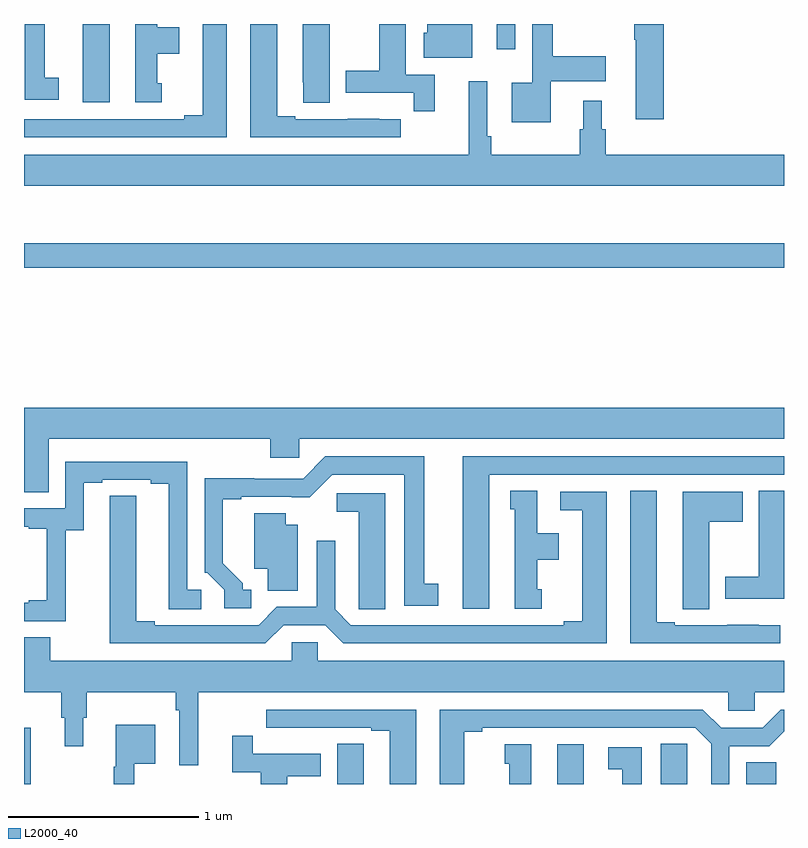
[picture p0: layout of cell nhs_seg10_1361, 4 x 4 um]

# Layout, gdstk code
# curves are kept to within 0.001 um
import gdstk
lib = gdstk.Library(unit=1e-6, precision=1e-09)
def R(c, l, rs):  # rectangles x0, y0, x1, y1
    for r in rs: c.add(gdstk.rectangle(r[:2], r[2:], *l))
def P(c, l, *ps):  # polygons
    for p in ps: c.add(gdstk.Polygon(p, *l))
L2000_40 = (2000, 40)

nhs_seg10_1361 = lib.new_cell('nhs_seg10_1361')
R(nhs_seg10_1361, L2000_40, [(181,1298.5,181.036,1298.797), (183.806,1298.5,183.946,1298.71), (184.802,1298.5,184.96,1298.615), (181,1301.218,185,1301.347), (181.31,1302.087,181.45,1302.5), (183.488,1302.366,183.585,1302.5)])
P(nhs_seg10_1361, L2000_40, [(183.161,1302.234),(183.01,1302.234),(183.01,1302.5),(182.87,1302.5),(182.87,1302.255),(182.693,1302.255),(182.693,1302.138),(183.052,1302.138),(183.052,1302.042),(183.161,1302.042)],
  [(181.183,1302.218),(181.108,1302.218),(181.108,1302.5),(181.004,1302.5),(181.004,1302.102),(181.183,1302.102)],
  [(183.358,1302.5),(183.122,1302.5),(183.122,1302.453),(183.104,1302.453),(183.104,1302.323),(183.358,1302.323)],
  [(182.068,1302.5),(181.94,1302.5),(181.94,1302.02),(181.844,1302.02),(181.844,1302),(181,1302),(181,1301.904),(182.068,1301.904)],
  [(183.772,1302.2),(184.063,1302.2),(184.063,1302.33),(183.784,1302.33),(183.784,1302.5),(183.675,1302.5),(183.675,1302.19),(183.566,1302.19),(183.566,1301.984),(183.772,1301.984)],
  [(182.608,1302.5),(182.468,1302.5),(182.468,1302.193),(182.469,1302.193),(182.469,1302.085),(182.608,1302.085)],
  [(184.367,1302.5),(184.213,1302.5),(184.213,1302.418),(184.22,1302.418),(184.22,1302),(184.367,1302)],
  [(181.726,1302.189),(181.702,1302.189),(181.702,1302.344),(181.816,1302.344),(181.816,1302.484),(181.702,1302.484),(181.702,1302.5),(181.586,1302.5),(181.586,1302.087),(181.726,1302.087)],
  [(182.983,1302),(182.87,1302),(182.87,1302.001),(182.704,1302.001),(182.704,1302),(182.428,1302),(182.428,1302.015),(182.332,1302.015),(182.332,1302.5),(182.192,1302.5),(182.192,1301.904),(182.983,1301.904)],
  [(185,1301.812),(184.061,1301.812),(184.061,1301.946),(184.042,1301.946),(184.042,1302.097),(183.944,1302.097),(183.944,1301.946),(183.925,1301.946),(183.925,1301.812),(183.458,1301.812),(183.458,1301.908),(183.438,1301.908),(183.438,1302.199),(183.341,1302.199),(183.341,1301.812),(181,1301.812),(181,1301.648),(185,1301.648)],
  [(181.129,1300.316),(182.297,1300.316),(182.297,1300.218),(182.448,1300.218),(182.448,1300.316),(185,1300.316),(185,1300.48),(181,1300.48),(181,1300.036),(181.129,1300.036)],
  [(182.197,1299.522),(182.152,1299.522),(182.152,1299.557),(182.047,1299.662),(182.047,1299.999),(182.143,1299.999),(182.143,1300.011),(182.504,1300.01),(182.622,1300.128),(183.002,1300.128),(183.002,1299.438),(183.181,1299.438),(183.181,1299.554),(183.106,1299.554),(183.106,1300.224),(182.586,1300.224),(182.469,1300.107),(182.213,1300.107),(182.213,1300.109),(181.95,1300.109),(181.95,1299.612),(181.965,1299.612),(182.055,1299.522),(182.055,1299.426),(182.197,1299.426)],
  [(183.448,1300.128),(185,1300.128),(185,1300.224),(183.308,1300.224),(183.308,1299.423),(183.448,1299.423)],
  [(181.221,1299.835),(181.315,1299.835),(181.315,1300.086),(181.411,1300.086),(181.411,1300.101),(181.667,1300.101),(181.667,1300.081),(181.763,1300.081),(181.763,1299.421),(181.933,1299.421),(181.933,1299.522),(181.86,1299.522),(181.86,1300.197),(181.218,1300.197),(181.218,1299.951),(181,1299.951),(181,1299.855),(181.025,1299.855),(181.025,1299.843),(181.121,1299.843),(181.121,1299.466),(181.025,1299.466),(181.025,1299.453),(181,1299.453),(181,1299.357),(181.221,1299.357)],
  [(183.724,1299.525),(183.7,1299.525),(183.7,1299.68),(183.814,1299.68),(183.814,1299.82),(183.7,1299.82),(183.7,1300.043),(183.56,1300.043),(183.56,1299.945),(183.584,1299.945),(183.584,1299.423),(183.724,1299.423)],
  [(184.981,1299.336),(184.868,1299.336),(184.868,1299.337),(184.702,1299.337),(184.702,1299.336),(184.426,1299.336),(184.426,1299.351),(184.33,1299.351),(184.33,1300.043),(184.19,1300.043),(184.19,1299.24),(184.981,1299.24)],
  [(185,1300.043),(184.868,1300.043),(184.868,1299.591),(184.691,1299.591),(184.691,1299.474),(185,1299.474)],
  [(184.606,1299.88),(184.783,1299.88),(184.783,1300.039),(184.466,1300.039),(184.466,1299.529),(184.467,1299.529),(184.467,1299.421),(184.606,1299.421)],
  [(182.367,1299.336),(182.585,1299.336),(182.681,1299.24),(184.066,1299.24),(184.066,1300.038),(183.822,1300.038),(183.822,1299.942),(183.938,1299.942),(183.938,1299.356),(183.842,1299.356),(183.842,1299.336),(182.721,1299.336),(182.637,1299.42),(182.637,1299.781),(182.541,1299.781),(182.541,1299.432),(182.331,1299.432),(182.235,1299.336),(181.687,1299.336),(181.687,1299.356),(181.591,1299.356),(181.591,1300.016),(181.452,1300.016),(181.451,1299.24),(182.271,1299.24)],
  [(182.902,1300.029),(182.646,1300.029),(182.646,1299.932),(182.762,1299.932),(182.762,1299.529),(182.763,1299.529),(182.763,1299.421),(182.902,1299.421)],
  [(182.44,1299.865),(182.377,1299.865),(182.377,1299.926),(182.213,1299.926),(182.213,1299.632),(182.282,1299.632),(182.282,1299.517),(182.44,1299.517)],
  [(181.916,1298.984),(184.707,1298.984),(184.707,1298.886),(184.845,1298.886),(184.845,1298.984),(185,1298.984),(185,1299.148),(182.547,1299.148),(182.547,1299.246),(182.409,1299.246),(182.409,1299.148),(181.137,1299.148),(181.137,1299.272),(181,1299.272),(181,1298.984),(181.195,1298.984),(181.195,1298.85),(181.214,1298.85),(181.214,1298.7),(181.312,1298.7),(181.312,1298.85),(181.331,1298.85),(181.331,1298.984),(181.798,1298.984),(181.798,1298.888),(181.818,1298.888),(181.818,1298.598),(181.916,1298.598)],
  [(183.316,1298.776),(183.412,1298.776),(183.412,1298.796),(184.533,1298.796),(184.617,1298.712),(184.617,1298.5),(184.713,1298.5),(184.713,1298.7),(184.923,1298.7),(185,1298.777),(185,1298.892),(184.983,1298.892),(184.887,1298.796),(184.669,1298.796),(184.573,1298.892),(183.188,1298.892),(183.188,1298.5),(183.316,1298.5)],
  [(183.064,1298.892),(182.274,1298.892),(182.274,1298.796),(182.386,1298.796),(182.386,1298.795),(182.552,1298.795),(182.552,1298.796),(182.828,1298.796),(182.828,1298.781),(182.924,1298.781),(182.924,1298.5),(183.064,1298.5)],
  [(181.581,1298.606),(181.69,1298.606),(181.69,1298.812),(181.484,1298.812),(181.484,1298.592),(181.473,1298.592),(181.473,1298.5),(181.581,1298.5)],
  [(182.386,1298.542),(182.563,1298.542),(182.563,1298.658),(182.204,1298.658),(182.204,1298.755),(182.096,1298.755),(182.096,1298.562),(182.246,1298.562),(182.246,1298.5),(182.386,1298.5)],
  [(184.492,1298.603),(184.491,1298.603),(184.491,1298.711),(184.352,1298.711),(184.352,1298.5),(184.492,1298.5)],
  [(182.788,1298.603),(182.787,1298.603),(182.787,1298.711),(182.648,1298.711),(182.648,1298.5),(182.788,1298.5)],
  [(183.67,1298.71),(183.53,1298.71),(183.53,1298.607),(183.554,1298.607),(183.554,1298.5),(183.67,1298.5)],
  [(184.252,1298.694),(184.074,1298.694),(184.074,1298.578),(184.148,1298.578),(184.148,1298.5),(184.252,1298.5)])

lib.write_gds('nhs_seg10_1361.gds')
